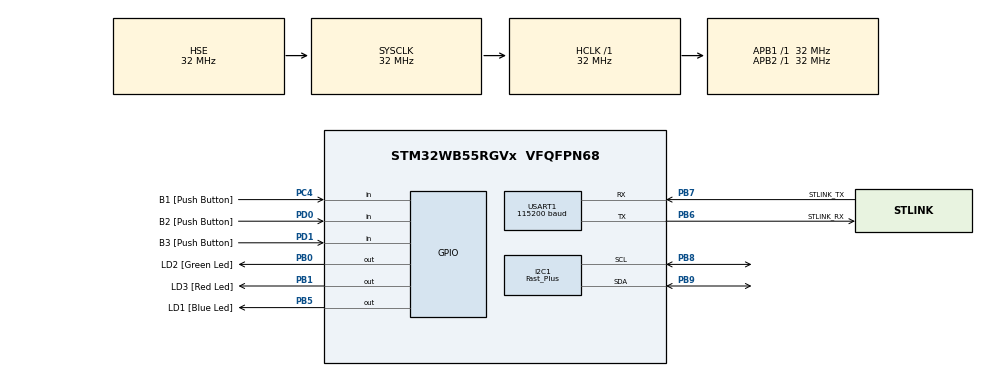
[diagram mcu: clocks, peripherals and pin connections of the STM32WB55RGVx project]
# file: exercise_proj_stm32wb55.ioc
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I2C1.I2C_Speed_Mode=I2C_Fast_Plus
I2C1.Timing=0x00100413
Mcu.Family=STM32WB
Mcu.Name=STM32WB55RGVx
Mcu.Package=VFQFPN68
NVIC.PriorityGroup=NVIC_PRIORITYGROUP_4
NVIC.USART1_IRQn=true\:0\:0\:false\:false\:true\:true\:true\:true
OSC_IN.Mode=HSE-External-Oscillator
OSC_IN.Signal=RCC_OSC_IN
OSC_OUT.Mode=HSE-External-Oscillator
OSC_OUT.Signal=RCC_OSC_OUT
PA11.Signal=USB_DM
PA12.Signal=USB_DP
PA13.GPIO_Label=JTMS
PA13.Mode=Trace_Asynchronous_SW
PA13.Signal=SYS_JTMS-SWDIO
PA14.GPIO_Label=JTCK
PA14.Mode=Trace_Asynchronous_SW
PA14.Signal=SYS_JTCK-SWCLK
PB0.GPIO_Label=LD2 [Green Led]
PB0.Signal=GPIO_Output
PB1.GPIO_Label=LD3 [Red Led]
PB1.Signal=GPIO_Output
PB3.GPIO_Label=JTDO
PB3.Mode=Trace_Asynchronous_SW
PB3.Signal=SYS_JTDO-SWO
PB5.GPIO_Label=LD1 [Blue Led]
PB5.Signal=GPIO_Output
PB6.GPIO_Label=STLINK_RX
PB6.GPIO_PuPd=GPIO_PULLUP
PB6.Mode=Asynchronous
PB6.Signal=USART1_TX
PB7.GPIO_Label=STLINK_TX
PB7.GPIO_PuPd=GPIO_PULLUP
PB7.Mode=Asynchronous
PB7.Signal=USART1_RX
PB8.Mode=I2C
PB8.Signal=I2C1_SCL
PB9.Mode=I2C
PB9.Signal=I2C1_SDA
PC13.Mode=SYS_WakeUp1
PC13.Signal=SYS_WKUP2
PC14-OSC32_IN.Mode=LSE-External-Oscillator
PC14-OSC32_IN.Signal=RCC_OSC32_IN
PC15-OSC32_OUT.Mode=LSE-External-Oscillator
PC15-OSC32_OUT.Signal=RCC_OSC32_OUT
PC4.GPIO_Label=B1 [Push Button]
PC4.Signal=GPIO_Input
PD0.GPIO_Label=B2 [Push Button]
PD0.Signal=GPIO_Input
PD1.GPIO_Label=B3 [Push Button]
PD1.Signal=GPIO_Input
ProjectManager.HeapSize=0x200
ProjectManager.StackSize=0x400
ProjectManager.TargetToolchain=STM32CubeIDE
RCC.ADCFreq_Value=48000000
RCC.AHBFreq_Value=32000000
RCC.APB1Freq_Value=32000000
RCC.APB1TimFreq_Value=32000000
RCC.APB2Freq_Value=32000000
RCC.APB2TimFreq_Value=32000000
RCC.APB3Freq_Value=16000000
RCC.CortexFreq_Value=32000000
RCC.HCLKFreq_Value=32000000
RCC.HSE_VALUE=32000000
RCC.HSI48_VALUE=48000000
RCC.HSI_VALUE=16000000
RCC.PLLN=32
RCC.PLLSAI1N=24
RCC.SMPSCLockSelectionVirtual=RCC_SMPSCLKSOURCE_HSI
RCC.SMPSCLockSelectionVirtualVirtual=RCC_SMPSCLKSOURCE_HSI
RCC.SMPSDivider=1
RCC.SYSCLKFreq_VALUE=32000000
RCC.SYSCLKSource=RCC_SYSCLKSOURCE_HSE
RCC.USBFreq_Value=48000000
RCC.VCOOutputFreq_Value=128000000
USART1.BaudRate=115200
USART1.VirtualMode-Asynchronous=VM_ASYNC
VP_CRC_VS_CRC.Mode=CRC_Activate
board=NUCLEO-WB55RG

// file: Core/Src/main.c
/* USER CODE BEGIN Header */
/**
  ******************************************************************************
  * @file           : main.c
  * @brief          : Main program body
  ******************************************************************************
  * @attention
  *
  * Copyright (c) 2022 STMicroelectronics.
  * All rights reserved.
  *
  * This software is licensed under terms that can be found in the LICENSE file
  * in the root directory of this software component.
  * If no LICENSE file comes with this software, it is provided AS-IS.
  *
  ******************************************************************************
  */

/* USER CODE END Header */
#include "main.h"

CRC_HandleTypeDef hcrc;

I2C_HandleTypeDef hi2c1;

UART_HandleTypeDef huart1;

/* USER CODE BEGIN PV */

static uint8_t uart_Rx_buff;
static HAL_StatusTypeDef uart_Rx_busy_flag = HAL_OK;
static HAL_StatusTypeDef uart_Tx_busy_flag = HAL_OK;

// Define calibration (replace with actual calibration data)
const FusionMatrix gyroscopeMisalignment = {1.0f, 0.0f, 0.0f, 0.0f, 1.0f, 0.0f, 0.0f, 0.0f, 1.0f};
const FusionVector gyroscopeSensitivity = {1.0f, 1.0f, 1.0f};
const FusionVector gyroscopeOffset = {0.0f, 0.0f, 0.0f};
const FusionMatrix accelerometerMisalignment = {1.0f, 0.0f, 0.0f, 0.0f, 1.0f, 0.0f, 0.0f, 0.0f, 1.0f};
const FusionVector accelerometerSensitivity = {1.0f, 1.0f, 1.0f};
const FusionVector accelerometerOffset = {0.0f, 0.0f, 0.0f};
const FusionMatrix softIronMatrix = {1.0f, 0.0f, 0.0f, 0.0f, 1.0f, 0.0f, 0.0f, 0.0f, 1.0f};
//const FusionVector hardIronOffset = {-.2384536685f, .1476907337f, .092882198187f};
const FusionVector hardIronOffset = {0.0f, 0.0f, 0.0f};

/**
 * Fusion objects used by the Ahrs IMU sensor fusion algorithm
 */
static FusionOffset offset;
static FusionAhrs ahrs;

///**
// * indx indicating the data buffer to read into
// */
//static uint8_t word_indx = 0;

/**
 * variable to get the return flag of i2c calling {HAL_OK or HAL_ERROR}
 */
HAL_StatusTypeDef ret;

/**
 * timer objects for keeping time for calibrating the gyroscope throughout the fusion algorithm
 */
static uint32_t prev_time_stamp;

/**
 * delta time for timing interval between 2 gyro readings
 */
static float delta_time;

/**
 * Fusion algorithm results stored in global static variable, better for monitoring in gdb
 */
static FusionEuler euler;
static FusionVector earth;
/**
 * buffer for printing and UART to high-level computer
 */
char word_buffer[300];

/**
 * structures to maintain global sensor variables
 */
struct SENSOR_Driver slave_xl;
struct SENSOR_Driver slave_gr;
struct SENSOR_Driver slave_mg;

/* USER CODE END PV */

void SystemClock_Config(void);
void PeriphCommonClock_Config(void);
static void MX_GPIO_Init(void);
static void MX_USART1_UART_Init(void);
static void MX_CRC_Init(void);
static void MX_I2C1_Init(void);

int main(void)
{

  /* MCU Configuration--------------------------------------------------------*/

  /* Reset of all peripherals, Initializes the Flash interface and the Systick. */
  HAL_Init();

  /* Configure the system clock */
  SystemClock_Config();

/* Configure the peripherals common clocks */
  PeriphCommonClock_Config();

  /* Initialize all configured peripherals */
  MX_GPIO_Init();
  MX_USART1_UART_Init();
  MX_CRC_Init();
  MX_I2C1_Init();
  /* USER CODE BEGIN 2 */

  Sensor_Unit_Init(&slave_xl, XL_SENSOR);
  Sensor_Unit_Init(&slave_gr, GR_SENSOR);
  Sensor_Unit_Init(&slave_mg, MG_SENSOR);

//  check the status of sensors first
  ret  = Sensor_Check_Ready(&slave_xl, hi2c1);
  ret  = Sensor_Check_Ready(&slave_gr, hi2c1);
  ret = Sensor_Check_Ready(&slave_mg, hi2c1);

//  set configuration for the accelerometer
  ret = Sensor_Set_Config(&slave_xl, hi2c1, LSM6DSOX_CTRL1_XL_REG, 0b01110010);
//  set configuration for the gyroscope
  ret = Sensor_Set_Config(&slave_gr, hi2c1, LSM6DSOX_CTRL2_GR_REG, 0b01110010);
//  set configuration for the magnetic field sensor
  ret = Sensor_Set_Config(&slave_mg, hi2c1, LIS3MDL_CTRL_REG1, 0b00111110);
  ret = Sensor_Set_Config(&slave_mg, hi2c1, LIS3MDL_CTRL_REG2, 0b00001100);
  ret = Sensor_Set_Config(&slave_mg, hi2c1, LIS3MDL_CTRL_REG3, 0b00000000);
  ret = Sensor_Set_Config(&slave_mg, hi2c1, LIS3MDL_CTRL_REG4, 0b00000100);
//
//  initialize objects for FusionAlgorithm usages
//  FusionOffsetInitialise(&offset, SAMPLE_FREQ);
  FusionAhrsInitialise(&ahrs);

  const FusionAhrsSettings settings = {
	  .gain = 0.5f,
	  .accelerationRejection = 10.0f,
	  .magneticRejection = 20.0f,
	  .rejectionTimeout = 5 * SAMPLE_FREQ, /* 5 seconds */
  };
  FusionAhrsSetSettings(&ahrs, &settings);

  uart_Rx_busy_flag = HAL_UART_Receive_IT(&huart1, (uint8_t *)&uart_Rx_buff, sizeof(uart_Rx_buff));

//  call HAL_GetTick  to get a current time according to system clk
  prev_time_stamp = HAL_GetTick();

//  if using timer fashion callback to prescribe the sampling frequency
//  start the timer 2 in the interrupt mode, counter starting counting from 0 to ARR value and raise IT
//  HAL_TIM_Base_Start_IT(&htim2);

  /* USER CODE END 2 */

  /* Infinite loop */
  /* USER CODE BEGIN WHILE */
  while (1)
  {

//		load value from the xl/gr/mg all 3 axes {LOW, HIGH} into data buffers
		ret =   Sensor_Read_Data(&slave_xl, hi2c1);
		ret =   Sensor_Read_Data(&slave_gr, hi2c1);
		ret =   Sensor_Read_Data(&slave_mg, hi2c1);

//		concatenate two 8-bit into one 16-bit 2's complement word
		Sensor_Data_Process(&slave_xl, LSM6DSOX_XL_2G_COEFF);
		Sensor_Data_Process(&slave_gr, LSM6DSOX_GR_125_COEFF);
		Sensor_Data_Process(&slave_mg, LIS3MDL_MG_4_COEFF);

//		advanced calibration methodologies including sensitivities, mis-alignment, and manual offsets
		slave_xl.reading_float =    FusionCalibrationInertial(slave_xl.reading_float, accelerometerMisalignment, accelerometerSensitivity, accelerometerOffset);
		slave_gr.reading_float =   FusionCalibrationInertial(slave_gr.reading_float, gyroscopeMisalignment, gyroscopeSensitivity, gyroscopeOffset);
		slave_mg.reading_float = FusionCalibrationMagnetic(slave_mg.reading_float, softIronMatrix, hardIronOffset);

//		 Update gyroscope offset correction algorithm
		slave_gr.reading_float = FusionOffsetUpdate(&offset, slave_gr.reading_float);

//		get a timer tag for the current moment {to approx gyro error for next round}
//		return of HAL_GetTick is unsigned integer 32 bit, already in mili-sec
//		0xffff'ffff / (1000 * 60 * 60 * 24) = 49.7 which means sysclk will not overflow until 49 days running
		uint32_t cur_time_stamp = HAL_GetTick();
		delta_time = (float) (cur_time_stamp - prev_time_stamp) * MILISEC_TO_SEC;
		prev_time_stamp = cur_time_stamp;

//		 Update gyroscope AHRS algorithm
		FusionAhrsUpdate(&ahrs, slave_gr.reading_float, slave_xl.reading_float, slave_mg.reading_float, delta_time);

//		retrieve the orientation in Euler Angles and position relative to Earth
		euler = FusionQuaternionToEuler(FusionAhrsGetQuaternion(&ahrs));
		earth = FusionAhrsGetEarthAcceleration(&ahrs);

//		load all info into the word buffer, ready to transmit
//		uart to mac to monitor the output from MCU
	  experiment_log(word_buffer, &euler, &earth, &slave_xl, &slave_gr, &slave_mg);

//	  reset a on-duty interrupt receiving request
	  	if (uart_Rx_busy_flag == HAL_OK)
	  	{
	  		//transmit data
			Sensor_Uart(word_buffer, huart1);
			//restart listening on com port for further data reading commands
	  		uart_Rx_busy_flag = HAL_UART_Receive_IT(&huart1, (uint8_t *)&uart_Rx_buff, sizeof(uart_Rx_buff));
	  	}
  }

    /* USER CODE END WHILE */

}

void SystemClock_Config(void)
{
  RCC_OscInitTypeDef RCC_OscInitStruct = {0};
  RCC_ClkInitTypeDef RCC_ClkInitStruct = {0};

  /** Configure the main internal regulator output voltage
  */
  __HAL_PWR_VOLTAGESCALING_CONFIG(PWR_REGULATOR_VOLTAGE_SCALE1);

  /** Initializes the RCC Oscillators according to the specified parameters
  * in the RCC_OscInitTypeDef structure.
  */
  RCC_OscInitStruct.OscillatorType = RCC_OSCILLATORTYPE_HSI|RCC_OSCILLATORTYPE_HSE;
  RCC_OscInitStruct.HSEState = RCC_HSE_ON;
  RCC_OscInitStruct.HSIState = RCC_HSI_ON;
  RCC_OscInitStruct.HSICalibrationValue = RCC_HSICALIBRATION_DEFAULT;
  RCC_OscInitStruct.PLL.PLLState = RCC_PLL_NONE;
  if (HAL_RCC_OscConfig(&RCC_OscInitStruct) != HAL_OK)
  {
    Error_Handler();
  }

  /** Configure the SYSCLKSource, HCLK, PCLK1 and PCLK2 clocks dividers
  */
  RCC_ClkInitStruct.ClockType = RCC_CLOCKTYPE_HCLK4|RCC_CLOCKTYPE_HCLK2
                              |RCC_CLOCKTYPE_HCLK|RCC_CLOCKTYPE_SYSCLK
                              |RCC_CLOCKTYPE_PCLK1|RCC_CLOCKTYPE_PCLK2;
  RCC_ClkInitStruct.SYSCLKSource = RCC_SYSCLKSOURCE_HSE;
  RCC_ClkInitStruct.AHBCLKDivider = RCC_SYSCLK_DIV1;
  RCC_ClkInitStruct.APB1CLKDivider = RCC_HCLK_DIV1;
  RCC_ClkInitStruct.APB2CLKDivider = RCC_HCLK_DIV1;
  RCC_ClkInitStruct.AHBCLK2Divider = RCC_SYSCLK_DIV1;
  RCC_ClkInitStruct.AHBCLK4Divider = RCC_SYSCLK_DIV1;

  if (HAL_RCC_ClockConfig(&RCC_ClkInitStruct, FLASH_LATENCY_1) != HAL_OK)
  {
    Error_Handler();
  }
}

void PeriphCommonClock_Config(void)
{
  RCC_PeriphCLKInitTypeDef PeriphClkInitStruct = {0};

  /** Initializes the peripherals clock
  */
  PeriphClkInitStruct.PeriphClockSelection = RCC_PERIPHCLK_SMPS;
  PeriphClkInitStruct.SmpsClockSelection = RCC_SMPSCLKSOURCE_HSI;
  PeriphClkInitStruct.SmpsDivSelection = RCC_SMPSCLKDIV_RANGE0;

  if (HAL_RCCEx_PeriphCLKConfig(&PeriphClkInitStruct) != HAL_OK)
  {
    Error_Handler();
  }
}

static void MX_CRC_Init(void)
{

  hcrc.Instance = CRC;
  hcrc.Init.DefaultPolynomialUse = DEFAULT_POLYNOMIAL_ENABLE;
  hcrc.Init.DefaultInitValueUse = DEFAULT_INIT_VALUE_ENABLE;
  hcrc.Init.InputDataInversionMode = CRC_INPUTDATA_INVERSION_NONE;
  hcrc.Init.OutputDataInversionMode = CRC_OUTPUTDATA_INVERSION_DISABLE;
  hcrc.InputDataFormat = CRC_INPUTDATA_FORMAT_BYTES;
  if (HAL_CRC_Init(&hcrc) != HAL_OK)
  {
    Error_Handler();
  }

}

static void MX_I2C1_Init(void)
{

  hi2c1.Instance = I2C1;
  hi2c1.Init.Timing = 0x00100413;
  hi2c1.Init.OwnAddress1 = 0;
  hi2c1.Init.AddressingMode = I2C_ADDRESSINGMODE_7BIT;
  hi2c1.Init.DualAddressMode = I2C_DUALADDRESS_DISABLE;
  hi2c1.Init.OwnAddress2 = 0;
  hi2c1.Init.OwnAddress2Masks = I2C_OA2_NOMASK;
  hi2c1.Init.GeneralCallMode = I2C_GENERALCALL_DISABLE;
  hi2c1.Init.NoStretchMode = I2C_NOSTRETCH_DISABLE;
  if (HAL_I2C_Init(&hi2c1) != HAL_OK)
  {
    Error_Handler();
  }

  /** Configure Analogue filter
  */
  if (HAL_I2CEx_ConfigAnalogFilter(&hi2c1, I2C_ANALOGFILTER_ENABLE) != HAL_OK)
  {
    Error_Handler();
  }

  /** Configure Digital filter
  */
  if (HAL_I2CEx_ConfigDigitalFilter(&hi2c1, 0) != HAL_OK)
  {
    Error_Handler();
  }

  /** I2C Enable Fast Mode Plus
  */
  HAL_I2CEx_EnableFastModePlus(I2C_FASTMODEPLUS_I2C1);

}

static void MX_USART1_UART_Init(void)
{

  huart1.Instance = USART1;
  huart1.Init.BaudRate = 115200;
  huart1.Init.WordLength = UART_WORDLENGTH_8B;
  huart1.Init.StopBits = UART_STOPBITS_1;
  huart1.Init.Parity = UART_PARITY_NONE;
  huart1.Init.Mode = UART_MODE_TX_RX;
  huart1.Init.HwFlowCtl = UART_HWCONTROL_NONE;
  huart1.Init.OverSampling = UART_OVERSAMPLING_16;
  huart1.Init.OneBitSampling = UART_ONE_BIT_SAMPLE_DISABLE;
  huart1.Init.ClockPrescaler = UART_PRESCALER_DIV1;
  huart1.AdvancedInit.AdvFeatureInit = UART_ADVFEATURE_NO_INIT;
  if (HAL_UART_Init(&huart1) != HAL_OK)
  {
    Error_Handler();
  }
  if (HAL_UARTEx_SetTxFifoThreshold(&huart1, UART_TXFIFO_THRESHOLD_1_8) != HAL_OK)
  {
    Error_Handler();
  }
  if (HAL_UARTEx_SetRxFifoThreshold(&huart1, UART_RXFIFO_THRESHOLD_1_8) != HAL_OK)
  {
    Error_Handler();
  }
  if (HAL_UARTEx_DisableFifoMode(&huart1) != HAL_OK)
  {
    Error_Handler();
  }

}

static void MX_GPIO_Init(void)
{
  GPIO_InitTypeDef GPIO_InitStruct = {0};

  /* GPIO Ports Clock Enable */
  __HAL_RCC_GPIOC_CLK_ENABLE();
  __HAL_RCC_GPIOB_CLK_ENABLE();
  __HAL_RCC_GPIOA_CLK_ENABLE();
  __HAL_RCC_GPIOD_CLK_ENABLE();

  /*Configure GPIO pin Output Level */
  HAL_GPIO_WritePin(GPIOB, LD2_Pin|LD3_Pin|LD1_Pin, GPIO_PIN_RESET);

  /*Configure GPIO pin : B1_Pin */
  GPIO_InitStruct.Pin = B1_Pin;
  GPIO_InitStruct.Mode = GPIO_MODE_INPUT;
  GPIO_InitStruct.Pull = GPIO_NOPULL;
  HAL_GPIO_Init(B1_GPIO_Port, &GPIO_InitStruct);

  /*Configure GPIO pins : LD2_Pin LD3_Pin LD1_Pin */
  GPIO_InitStruct.Pin = LD2_Pin|LD3_Pin|LD1_Pin;
  GPIO_InitStruct.Mode = GPIO_MODE_OUTPUT_PP;
  GPIO_InitStruct.Pull = GPIO_NOPULL;
  GPIO_InitStruct.Speed = GPIO_SPEED_FREQ_LOW;
  HAL_GPIO_Init(GPIOB, &GPIO_InitStruct);

  /*Configure GPIO pins : PA11 PA12 */
  GPIO_InitStruct.Pin = GPIO_PIN_11|GPIO_PIN_12;
  GPIO_InitStruct.Mode = GPIO_MODE_AF_PP;
  GPIO_InitStruct.Pull = GPIO_NOPULL;
  GPIO_InitStruct.Speed = GPIO_SPEED_FREQ_LOW;
  GPIO_InitStruct.Alternate = GPIO_AF10_USB;
  HAL_GPIO_Init(GPIOA, &GPIO_InitStruct);

  /*Configure GPIO pins : B2_Pin B3_Pin */
  GPIO_InitStruct.Pin = B2_Pin|B3_Pin;
  GPIO_InitStruct.Mode = GPIO_MODE_INPUT;
  GPIO_InitStruct.Pull = GPIO_NOPULL;
  HAL_GPIO_Init(GPIOD, &GPIO_InitStruct);

}

/* USER CODE BEGIN 4 */
//void HAL_TIM_PeriodElapsedCallback(TIM_HandleTypeDef *htim_int)
//{
//	/*
//	 * TODO each round of data reading in
//	 */
////	  check whether Timer 2 is causing the callback
//	  if (htim_int->Instance != TIM2) return;
//
////	  use UART now, later move onto BLE transmission calls here
//	  Sensor_Uart(word_buffer, huart1);
//}

void HAL_UART_RxCpltCallback (UART_HandleTypeDef * huart)
{
	/**
	 * TODO former interrupt handle finished, allowed to go to the next one
	 */
	uart_Rx_busy_flag = HAL_OK;
}

/* USER CODE END 4 */

void Error_Handler(void)
{
  /* USER CODE BEGIN Error_Handler_Debug */
  /* User can add his own implementation to report the HAL error return state */
  __disable_irq();
  while (1)
  {
	  __NOP();
  }
  /* USER CODE END Error_Handler_Debug */
}
